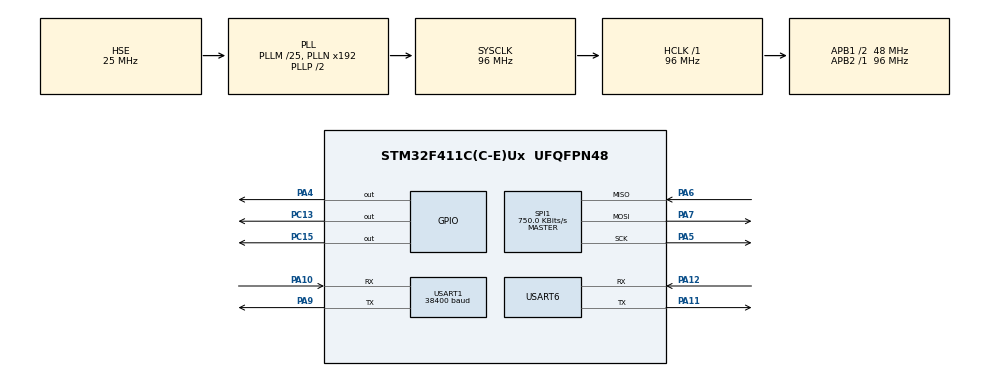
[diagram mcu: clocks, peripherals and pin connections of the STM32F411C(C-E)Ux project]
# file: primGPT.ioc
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FREERTOS.Tasks01=defaultTask,24,400,StartDefaultTask,Default,NULL,Dynamic,NULL,NULL
FREERTOS.configMINIMAL_STACK_SIZE=400
FREERTOS.configUSE_NEWLIB_REENTRANT=1
Mcu.Family=STM32F4
Mcu.Name=STM32F411C(C-E)Ux
Mcu.Package=UFQFPN48
NVIC.PriorityGroup=NVIC_PRIORITYGROUP_4
NVIC.TIM1_UP_TIM10_IRQn=true\:15\:0\:false\:false\:true\:false\:false\:true\:true
NVIC.TimeBase=TIM1_UP_TIM10_IRQn
NVIC.TimeBaseIP=TIM1
NVIC.USART1_IRQn=true\:5\:0\:false\:false\:true\:true\:true\:true\:true
PA10.Mode=Asynchronous
PA10.Signal=USART1_RX
PA11.Mode=Asynchronous
PA11.Signal=USART6_TX
PA12.Mode=Asynchronous
PA12.Signal=USART6_RX
PA4.Signal=GPIO_Output
PA5.Mode=Full_Duplex_Master
PA5.Signal=SPI1_SCK
PA6.Mode=Full_Duplex_Master
PA6.Signal=SPI1_MISO
PA7.Mode=Full_Duplex_Master
PA7.Signal=SPI1_MOSI
PA9.Mode=Asynchronous
PA9.Signal=USART1_TX
PC13-ANTI_TAMP.Signal=GPIO_Output
PC15-OSC32_OUT.Signal=GPIO_Output
PH0\ -\ OSC_IN.Mode=HSE-External-Oscillator
PH0\ -\ OSC_IN.Signal=RCC_OSC_IN
PH1\ -\ OSC_OUT.Mode=HSE-External-Oscillator
PH1\ -\ OSC_OUT.Signal=RCC_OSC_OUT
ProjectManager.HeapSize=0x200
ProjectManager.StackSize=0x400
ProjectManager.TargetToolchain=STM32CubeIDE
RCC.48MHZClocksFreq_Value=48000000
RCC.AHBFreq_Value=96000000
RCC.APB1CLKDivider=RCC_HCLK_DIV2
RCC.APB1Freq_Value=48000000
RCC.APB1TimFreq_Value=96000000
RCC.APB2Freq_Value=96000000
RCC.APB2TimFreq_Value=96000000
RCC.CortexFreq_Value=96000000
RCC.HCLKFreq_Value=96000000
RCC.HSE_VALUE=25000000
RCC.HSI_VALUE=16000000
RCC.LSE_VALUE=32768
RCC.PLLM=25
RCC.PLLSourceVirtual=RCC_PLLSOURCE_HSE
RCC.SYSCLKFreq_VALUE=96000000
RCC.SYSCLKSource=RCC_SYSCLKSOURCE_PLLCLK
RCC.VCOOutputFreq_Value=192000000
SPI1.BaudRatePrescaler=SPI_BAUDRATEPRESCALER_128
SPI1.CalculateBaudRate=750.0 KBits/s
SPI1.Direction=SPI_DIRECTION_2LINES
SPI1.Mode=SPI_MODE_MASTER
SPI1.VirtualType=VM_MASTER
USART1.BaudRate=38400
USART1.VirtualMode=VM_ASYNC
USART6.VirtualMode=VM_ASYNC
VP_FREERTOS_VS_CMSIS_V2.Mode=CMSIS_V2
VP_SYS_VS_tim1.Mode=TIM1
board=custom

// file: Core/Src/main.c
/* USER CODE BEGIN Header */
/**
  ******************************************************************************
  * @file           : main.c
  * @brief          : Main program body
  ******************************************************************************
  * @attention
  *
  * 14.02.25 by Kurein M.N.
  *
  * v.
  *
  ******************************************************************************
  */
/* USER CODE END Header */
#include "main.h"
#include "cmsis_os.h"

/* USER CODE BEGIN Includes */
#include "FreeRTOS.h"
#include "queue.h"
#include "task.h"
#include "stm32f4xx_hal.h"
#include "DataFile.h"
#include "uart.h"
#include "crc16.h"
#include "fram.h"

/* USER CODE END Includes */

/* USER CODE BEGIN PD */

volatile uint32_t last_rx_time;                   // Time of last received byte
extern volatile char uart1_rx_buf[UART_BUF_SIZE];
fram_t fram;
fram_cfg_t cfgFRAM;
QueueHandle_t uartQueue;

osThreadId_t LedTaskHandle, Uart1TaskHandle;

/* USER CODE END PD */

SPI_HandleTypeDef hspi1;

UART_HandleTypeDef huart1;
UART_HandleTypeDef huart6;

/* Definitions for defaultTask */
osThreadId_t defaultTaskHandle;
const osThreadAttr_t defaultTask_attributes = {
  .name = "defaultTask",
  .stack_size = 100 * 4,
  .priority = (osPriority_t) osPriorityNormal,
};
/* USER CODE BEGIN PV */
const osThreadAttr_t LedTask_attributes = {
  .name = "LedTask",
  .stack_size = 100 * 4,
  .priority = (osPriority_t) osPriorityNormal,
};

const osThreadAttr_t Uart1Task_attributes = {
  .name = "Uart1Task",
  .stack_size = 400 * 4,
  .priority = (osPriority_t) osPriorityAboveNormal,
};

/* USER CODE END PV */

void SystemClock_Config(void);
static void MX_GPIO_Init(void);
static void MX_USART1_UART_Init(void);
static void MX_SPI1_Init(void);
static void MX_USART6_UART_Init(void);
void StartDefaultTask(void *argument);

/* USER CODE BEGIN PFP */
void LedTask(void *argument);
void Uart1Task(void *argument);
/* USER CODE END PFP */

/* USER CODE BEGIN 0 */
void LedTask(void *pvParameters) {
	int c = 'A';

    while (1) {
        HAL_GPIO_TogglePin(GPIOC, GPIO_PIN_13);
        uart1_put_ch(c);
        vTaskDelay(pdMS_TO_TICKS(1000));
    }
}

void Uart1Task(void *pvParameters) {
    uint8_t command[UART_BUF_SIZE];
    uint8_t index = 0;
    uint16_t crc = 0;
    char receivedChar;
    char wr_data[7] = {'K', 'U', 'R', 'E', 'I', 'N'};
    char rd_data[7] = {0};

    while (1) {
        HAL_GPIO_TogglePin(GPIOC, GPIO_PIN_15);

        // Waiting for a byte from the queue(очереди)
        if (xQueueReceive(uartQueue, &receivedChar, pdMS_TO_TICKS(2)) == pdPASS) {

            if (index < UART_BUF_SIZE) {
            	//uart1_put_ch(index);
                command[index++] = receivedChar;
                uart1_put_ch(receivedChar);
            }
        }

        uint32_t current_time = xTaskGetTickCount();
        uint32_t diff = current_time - last_rx_time;

        if (index > 0 && diff > pdMS_TO_TICKS(UART_TIMEOUT_MS)) {
        	//uart1_put_u32(diff);
            crc = process_crc(command, index, true);
            //uart1_put_ch(crc);
            if (crc == 1) {
                switch (command[0]) {
                    case 0:
                        if (command[1] == 0) {
                            HAL_GPIO_WritePin(GPIOC, GPIO_PIN_13, GPIO_PIN_SET);
                            log_printf("Debug: command_0 CRC = %d\r\n",crc);
                        }
                        break;

                    case 1:
                        if (command[1] == 1) {
                            HAL_GPIO_WritePin(GPIOC, GPIO_PIN_13, GPIO_PIN_RESET);
                            log_printf("Debug: command_1 CRC = %d\r\n",crc);
                         }
                         break;

                    case 2:
                        if (command[1] == 0) {
                        	log_printf("Debug: command_2 CRC = %d\r\n",crc);
                            fram_write(&fram, 0x0150, (uint8_t *)wr_data, sizeof(wr_data));
                            HAL_Delay(1000);
                            fram_read(&fram, 0x0150, (uint8_t *)rd_data, sizeof(wr_data));
                        }
                        break;
                }
            }

            while (uxQueueMessagesWaiting(uartQueue) > 0) {
                char discardChar;
                xQueueReceive(uartQueue, &discardChar, 0);
            }
        index = 0;
        vTaskDelay(pdMS_TO_TICKS(10));  // Adding a delay
        }
    }
}

/* USER CODE END 0 */

int main(void)
{

  /* MCU Configuration--------------------------------------------------------*/

  /* Reset of all peripherals, Initializes the Flash interface and the Systick. */
  HAL_Init();

  /* Configure the system clock */
  SystemClock_Config();

  /* Initialize all configured peripherals */
  MX_GPIO_Init();
  MX_USART1_UART_Init();
  MX_SPI1_Init();
  MX_USART6_UART_Init();
  /* USER CODE BEGIN 2 */
  log_printf("Main started, time: %lu ms\r\n", HAL_GetTick());

  fram_cfg_setup(&cfgFRAM);
  fram_init(&fram,&cfgFRAM);

  log_printf("FRAM setup done\r\n");

  //fram_erase_all(&fram);
  //HAL_Delay(1000);

  /* USER CODE END 2 */

  /* Init scheduler */
  osKernelInitialize();

  /* USER CODE BEGIN RTOS_QUEUES */
  /* add queues, ... */
  uartQueue = xQueueCreate(100, sizeof(char));  // Очередь на 40 элементов
  if (uartQueue == NULL) {
       Error_Handler();// Ошибка создания очереди
  }
  /* USER CODE END RTOS_QUEUES */

  /* Create the thread(s) */
  /* creation of defaultTask */
  defaultTaskHandle = osThreadNew(StartDefaultTask, NULL, &defaultTask_attributes);

  /* USER CODE BEGIN RTOS_THREADS */
  LedTaskHandle = osThreadNew(LedTask, NULL, &LedTask_attributes);

  Uart1TaskHandle = osThreadNew(Uart1Task, NULL, &Uart1Task_attributes);
  if (Uart1TaskHandle == NULL) {
	uart1_put_ch('E');
    Error_Handler();
  }
  /* USER CODE END RTOS_THREADS */

  /* Start scheduler */
  osKernelStart();

  /* We should never get here as control is now taken by the scheduler */

  /* Infinite loop */
  while (1)
  {

  }
}

void SystemClock_Config(void)
{
  RCC_OscInitTypeDef RCC_OscInitStruct = {0};
  RCC_ClkInitTypeDef RCC_ClkInitStruct = {0};

  /** Configure the main internal regulator output voltage
  */
  __HAL_RCC_PWR_CLK_ENABLE();
  __HAL_PWR_VOLTAGESCALING_CONFIG(PWR_REGULATOR_VOLTAGE_SCALE1);

  /** Initializes the RCC Oscillators according to the specified parameters
  * in the RCC_OscInitTypeDef structure.
  */
  RCC_OscInitStruct.OscillatorType = RCC_OSCILLATORTYPE_HSE;
  RCC_OscInitStruct.HSEState = RCC_HSE_ON;
  RCC_OscInitStruct.PLL.PLLState = RCC_PLL_ON;
  RCC_OscInitStruct.PLL.PLLSource = RCC_PLLSOURCE_HSE;
  RCC_OscInitStruct.PLL.PLLM = 25;
  RCC_OscInitStruct.PLL.PLLN = 192;
  RCC_OscInitStruct.PLL.PLLP = RCC_PLLP_DIV2;
  RCC_OscInitStruct.PLL.PLLQ = 4;
  if (HAL_RCC_OscConfig(&RCC_OscInitStruct) != HAL_OK)
  {
    Error_Handler();
  }

  /** Initializes the CPU, AHB and APB buses clocks
  */
  RCC_ClkInitStruct.ClockType = RCC_CLOCKTYPE_HCLK|RCC_CLOCKTYPE_SYSCLK
                              |RCC_CLOCKTYPE_PCLK1|RCC_CLOCKTYPE_PCLK2;
  RCC_ClkInitStruct.SYSCLKSource = RCC_SYSCLKSOURCE_PLLCLK;
  RCC_ClkInitStruct.AHBCLKDivider = RCC_SYSCLK_DIV1;
  RCC_ClkInitStruct.APB1CLKDivider = RCC_HCLK_DIV2;
  RCC_ClkInitStruct.APB2CLKDivider = RCC_HCLK_DIV1;

  if (HAL_RCC_ClockConfig(&RCC_ClkInitStruct, FLASH_LATENCY_3) != HAL_OK)
  {
    Error_Handler();
  }
}

static void MX_SPI1_Init(void)
{

  /* SPI1 parameter configuration*/
  hspi1.Instance = SPI1;
  hspi1.Init.Mode = SPI_MODE_MASTER;
  hspi1.Init.Direction = SPI_DIRECTION_2LINES;
  hspi1.Init.DataSize = SPI_DATASIZE_8BIT;
  hspi1.Init.CLKPolarity = SPI_POLARITY_LOW;
  hspi1.Init.CLKPhase = SPI_PHASE_1EDGE;
  hspi1.Init.NSS = SPI_NSS_SOFT;
  hspi1.Init.BaudRatePrescaler = SPI_BAUDRATEPRESCALER_128;
  hspi1.Init.FirstBit = SPI_FIRSTBIT_MSB;
  hspi1.Init.TIMode = SPI_TIMODE_DISABLE;
  hspi1.Init.CRCCalculation = SPI_CRCCALCULATION_DISABLE;
  hspi1.Init.CRCPolynomial = 10;
  if (HAL_SPI_Init(&hspi1) != HAL_OK)
  {
    Error_Handler();
  }

}

static void MX_USART1_UART_Init(void)
{

  huart1.Instance = USART1;
  huart1.Init.BaudRate = 38400;
  huart1.Init.WordLength = UART_WORDLENGTH_8B;
  huart1.Init.StopBits = UART_STOPBITS_1;
  huart1.Init.Parity = UART_PARITY_NONE;
  huart1.Init.Mode = UART_MODE_TX_RX;
  huart1.Init.HwFlowCtl = UART_HWCONTROL_NONE;
  huart1.Init.OverSampling = UART_OVERSAMPLING_16;
  if (HAL_UART_Init(&huart1) != HAL_OK)
  {
    Error_Handler();
  }
  /* USER CODE BEGIN USART1_Init 2 */

  /* Enable UART interrupts for receiving data */
  HAL_UART_Receive_IT(&huart1, (uint8_t *)&uart1_rx_buf[0], 1);

  /* USER CODE END USART1_Init 2 */

}

static void MX_USART6_UART_Init(void)
{

  huart6.Instance = USART6;
  huart6.Init.BaudRate = 115200;
  huart6.Init.WordLength = UART_WORDLENGTH_8B;
  huart6.Init.StopBits = UART_STOPBITS_1;
  huart6.Init.Parity = UART_PARITY_NONE;
  huart6.Init.Mode = UART_MODE_TX_RX;
  huart6.Init.HwFlowCtl = UART_HWCONTROL_NONE;
  huart6.Init.OverSampling = UART_OVERSAMPLING_16;
  if (HAL_UART_Init(&huart6) != HAL_OK)
  {
    Error_Handler();
  }

}

static void MX_GPIO_Init(void)
{
  GPIO_InitTypeDef GPIO_InitStruct = {0};

  /* GPIO Ports Clock Enable */
  __HAL_RCC_GPIOC_CLK_ENABLE();
  __HAL_RCC_GPIOH_CLK_ENABLE();
  __HAL_RCC_GPIOA_CLK_ENABLE();

  /*Configure GPIO pin Output Level */
  HAL_GPIO_WritePin(GPIOC, GPIO_PIN_13|GPIO_PIN_15, GPIO_PIN_RESET);

  /*Configure GPIO pin Output Level */
  HAL_GPIO_WritePin(GPIOA, GPIO_PIN_4, GPIO_PIN_RESET);

  /*Configure GPIO pins : PC13 PC15 */
  GPIO_InitStruct.Pin = GPIO_PIN_13|GPIO_PIN_15;
  GPIO_InitStruct.Mode = GPIO_MODE_OUTPUT_PP;
  GPIO_InitStruct.Pull = GPIO_NOPULL;
  GPIO_InitStruct.Speed = GPIO_SPEED_FREQ_LOW;
  HAL_GPIO_Init(GPIOC, &GPIO_InitStruct);

  /*Configure GPIO pin : PA4 */
  GPIO_InitStruct.Pin = GPIO_PIN_4;
  GPIO_InitStruct.Mode = GPIO_MODE_OUTPUT_PP;
  GPIO_InitStruct.Pull = GPIO_NOPULL;
  GPIO_InitStruct.Speed = GPIO_SPEED_FREQ_LOW;
  HAL_GPIO_Init(GPIOA, &GPIO_InitStruct);

}

void StartDefaultTask(void *argument)
{
  /* USER CODE BEGIN 5 */

  /* Infinite loop */
  for(;;)
  {
    osDelay(500);
  }

  /* USER CODE END 5 */
}

void HAL_TIM_PeriodElapsedCallback(TIM_HandleTypeDef *htim)
{
  if (htim->Instance == TIM1) {
    HAL_IncTick();
  }
}

void Error_Handler(void)
{
  __disable_irq();
  while (1)
  {
  }
}
